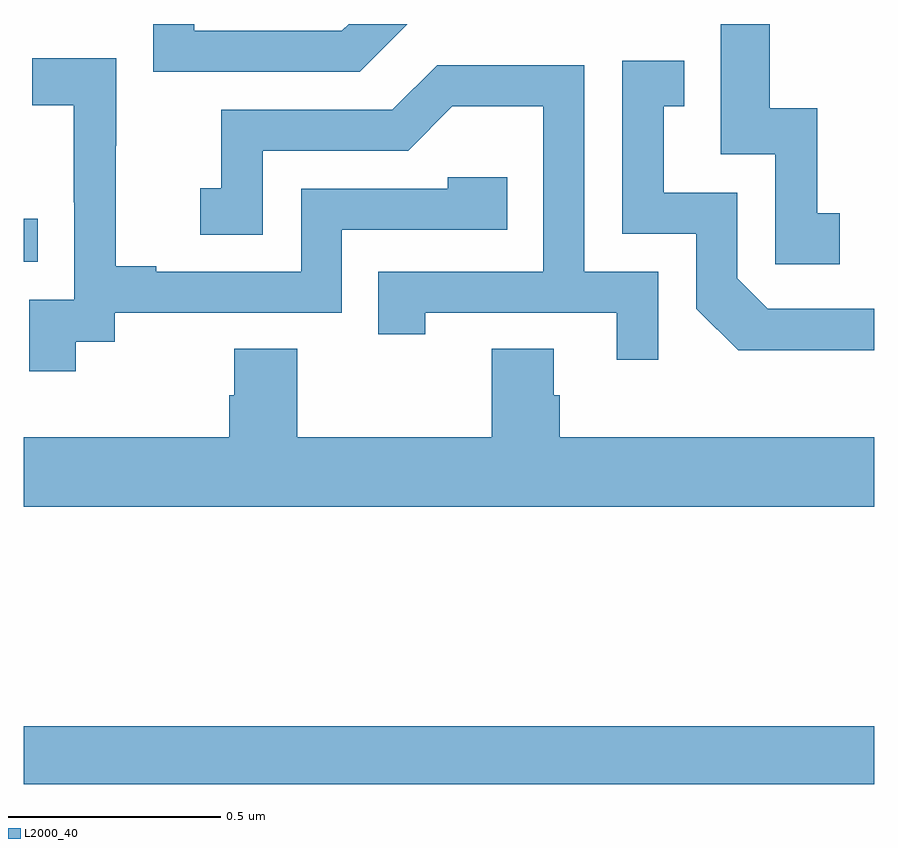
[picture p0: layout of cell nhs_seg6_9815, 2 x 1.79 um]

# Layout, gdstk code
import gdstk
lib = gdstk.Library(unit=1e-6, precision=1e-09)
def R(c, l, rs):  # rectangles x0, y0, x1, y1
    for r in rs: c.add(gdstk.rectangle(r[:2], r[2:], *l))
def P(c, l, *ps):  # polygons
    for p in ps: c.add(gdstk.Polygon(p, *l))
L2000_40 = (2000, 40)

nhs_seg6_9815 = lib.new_cell('nhs_seg6_9815')
R(nhs_seg6_9815, L2000_40, [(239,918.712,241,918.848), (239,919.941,239.033,920.042)])
P(nhs_seg6_9815, L2000_40, [(239.902,920.5),(239.764,920.5),(239.748,920.484),(239.401,920.484),(239.401,920.5),(239.304,920.5),(239.304,920.388),(239.79,920.388)],
  [(240.919,920.055),(240.866,920.055),(240.866,920.302),(240.755,920.302),(240.755,920.5),(240.639,920.5),(240.639,920.193),(240.768,920.193),(240.768,919.935),(240.919,919.935)],
  [(239.122,919.753),(239.214,919.753),(239.214,919.821),(239.748,919.821),(239.748,920.016),(240.137,920.016),(240.137,920.139),(239.997,920.139),(239.997,920.112),(239.652,920.112),(239.652,919.917),(239.311,919.917),(239.311,919.93),(239.216,919.93),(239.216,920.213),(239.217,920.213),(239.217,920.419),(239.019,920.419),(239.019,920.309),(239.117,920.309),(239.117,920.081),(239.118,920.081),(239.118,919.851),(239.013,919.851),(239.013,919.683),(239.122,919.683)],
  [(241,919.83),(240.75,919.83),(240.678,919.902),(240.678,920.103),(240.505,920.103),(240.505,920.307),(240.554,920.307),(240.554,920.413),(240.408,920.413),(240.408,920.007),(240.582,920.007),(240.582,919.83),(240.68,919.733),(241,919.733)],
  [(240.492,919.917),(240.318,919.917),(240.318,920.403),(239.972,920.403),(239.867,920.298),(239.464,920.298),(239.464,920.113),(239.415,920.113),(239.415,920.004),(239.562,920.004),(239.562,920.202),(239.904,920.202),(240.008,920.306),(240.222,920.306),(240.222,919.917),(239.833,919.917),(239.833,919.77),(239.944,919.77),(239.944,919.821),(240.395,919.821),(240.395,919.71),(240.492,919.71)],
  [(241,919.528),(240.26,919.528),(240.26,919.626),(240.247,919.626),(240.247,919.736),(240.1,919.736),(240.1,919.528),(239.643,919.528),(239.643,919.736),(239.495,919.736),(239.495,919.626),(239.483,919.626),(239.483,919.528),(239,919.528),(239,919.364),(241,919.364)])

lib.write_gds('nhs_seg6_9815.gds')
